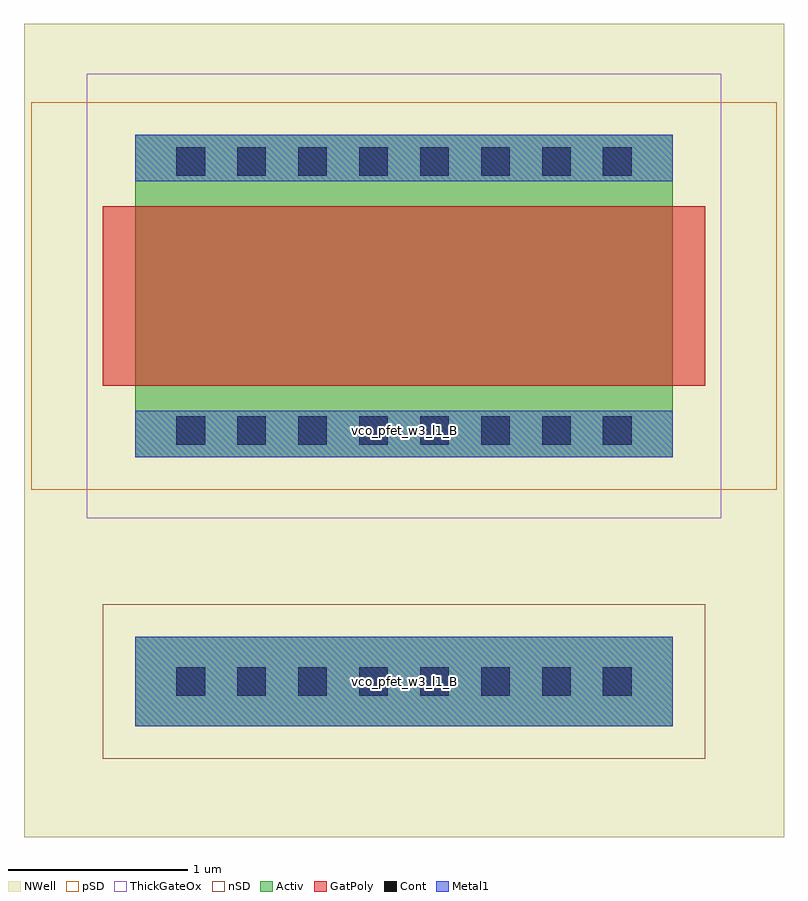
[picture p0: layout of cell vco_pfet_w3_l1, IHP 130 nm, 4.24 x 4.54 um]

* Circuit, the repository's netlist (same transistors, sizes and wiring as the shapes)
* extracted by klt extract --deck sg13cmos5l

* cell vco_pfet_w3_l1
* pin VDD_VCO
.SUBCKT vco_pfet_w3_l1 VDD_VCO
* device instance $1 r0 *1 2.8,3.36 pfet
X$1 \$2 \$1 \$3 VDD_VCO sg13_hv_pmos L=1U W=3U AS=1.2P AD=1.2P PS=6.8U PD=6.8U
.ENDS vco_pfet_w3_l1

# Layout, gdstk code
import gdstk
lib = gdstk.Library(unit=1e-6, precision=1e-09)
def R(c, l, rs):  # rectangles x0, y0, x1, y1
    for r in rs: c.add(gdstk.rectangle(r[:2], r[2:], *l))
def A(c, l, x, y, w, h, nx, ny, dx, dy):  # array of equal rectangles
    R(c, l, [(x+i*dx, y+j*dy, x+i*dx+w, y+j*dy+h) for i in range(nx) for j in range(ny)])
Activ = (1, 0)
GatPoly = (5, 0)
Cont = (6, 0)
nSD = (7, 0)
Metal1 = (8, 0)
pSD = (14, 0)
NWell = (31, 0)
ThickGateOx = (44, 0)

vco_pfet_w3_l1 = lib.new_cell('vco_pfet_w3_l1')
R(vco_pfet_w3_l1, Activ, [(1.2,0.96,4.2,1.46), (1.2,2.46,4.2,4.26)])
R(vco_pfet_w3_l1, GatPoly, [(1.02,2.86,4.38,3.86)])
A(vco_pfet_w3_l1, Cont, 1.43, 1.13, 0.16, 0.16, 8, 2, 0.34, 1.4)
A(vco_pfet_w3_l1, Cont, 1.43, 4.03, 0.16, 0.16, 8, 1, 0.34, 0)
R(vco_pfet_w3_l1, nSD, [(1.02,0.78,4.38,1.64)])
R(vco_pfet_w3_l1, Metal1, [(1.2,0.96,4.2,1.46), (1.2,2.46,4.2,2.72), (1.2,4,4.2,4.26)])
R(vco_pfet_w3_l1, pSD, [(0.62,2.28,4.78,4.44)])
R(vco_pfet_w3_l1, NWell, [(0.58,0.34,4.82,4.88)])
R(vco_pfet_w3_l1, ThickGateOx, [(0.93,2.12,4.47,4.6)])
vco_pfet_w3_l1.add(gdstk.Label('vco_pfet_w3_l1_B', (2.7,1.21), layer=8, texttype=2))
vco_pfet_w3_l1.add(gdstk.Label('vco_pfet_w3_l1_B', (2.7,2.61), layer=31, texttype=2))

lib.write_gds('vco_pfet_w3_l1.gds')
